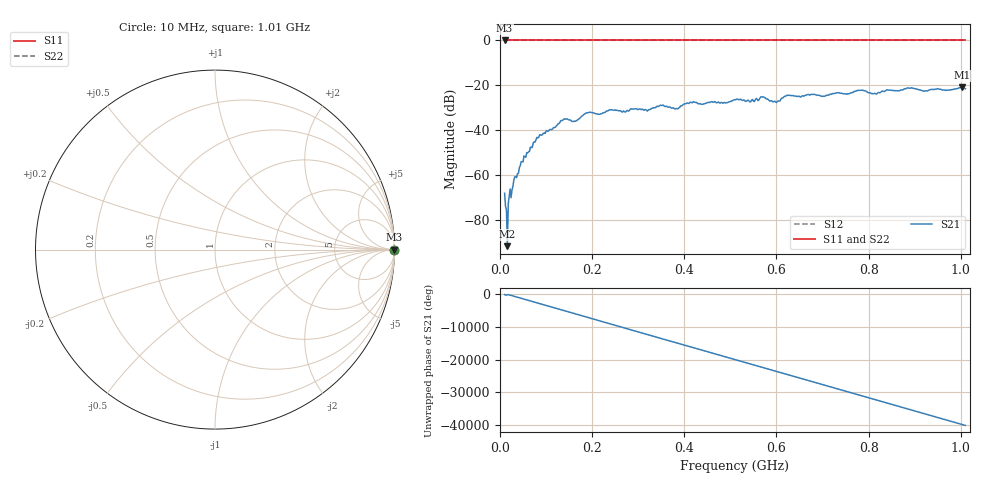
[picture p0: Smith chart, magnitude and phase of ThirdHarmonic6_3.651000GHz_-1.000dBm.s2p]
! 8/17/2025 12:17:36 PM
! C:\ANRITSUVNA\TEMP\TEMP.S2P
! CHANNEL.1
! TR.MEASUREMENT
! RAW.DATA
! RF.CORRECTION.OFF
! AVERAGING.OFF
! IF.BANDWIDTH: 5KHZ
! SWEEPTYPE:  FREQ.SWEEP(Linear)
! Reference Plane Port Info
! PORT:  PORT1  PORT2
! DISTANCE:  0  m  0  m
! TIME:  0  s  0  s
! PHASE.OFFSET:  0  deg.  0  deg.
! LOSS:  0  dB  0  dB
! REF.LOSS:  0  dB  0  dB
! REF.FREQ:  0  Hz  0  Hz
! Power Info
! POWER:  -20  dBm  -20  dBm
! EFF.POWER:  -20  dBm  -20  dBm
! SOURCE.ATTEN:  0  dB  0  dB
! TEST.ATTEN:  0  dB  0  dB
# GHZ S RI R 50.0
! FREQ.GHZ  S11RE  S11IM  S21RE  S21IM  S12RE  S12IM  S22RE  S22IM
!; PortSelection: Port_12
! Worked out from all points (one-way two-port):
!   501 points, 10 MHz to 1.01 GHz, reference 50 ohm
!   highest |S21| = -20.88 dB at 1.002 GHz (marker M1); lowest = -91.9 dB at 16 MHz (marker M2)
!   lowest |S11| = 0.0 dB at 10 MHz (marker M3)
!   |S11| at or under -10 dB: nowhere
!   |S22| runs from 0.0 to 0.0 dB; largest |S21 - S12| = 1.1
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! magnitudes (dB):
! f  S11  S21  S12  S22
! 10 MHz  0.0  -68.2  0.0  0.0
! 16 MHz  0.0  -91.9  0.0  0.0
! 30 MHz  0.0  -62.4  0.0  0.0
! 48 MHz  0.0  -54.1  0.0  0.0
! 82 MHz  0.0  -43.4  0.0  0.0
! 136 MHz  0.0  -35.7  0.0  0.0
! 162 MHz  0.0  -36.1  0.0  0.0
! 178 MHz  0.0  -33.7  0.0  0.0
! 344 MHz  0.0  -29.5  0.0  0.0
! 382 MHz  0.0  -30.5  0.0  0.0
! 416 MHz  0.0  -27.8  0.0  0.0
! 510 MHz  0.0  -26.5  0.0  0.0
! 548 MHz  0.0  -26.4  0.0  0.0
! 570 MHz  0.0  -25.2  0.0  0.0
! 598 MHz  0.0  -27.5  0.0  0.0
! 624 MHz  0.0  -24.4  0.0  0.0
! 678 MHz  0.0  -24.1  0.0  0.0
! 784 MHz  0.0  -22.3  0.0  0.0
! 814 MHz  0.0  -23.7  0.0  0.0
! 844 MHz  0.0  -22.2  0.0  0.0
! 1.002 GHz  0.0  -20.9  0.0  0.0
! 1.01 GHz  0.0  -21.5  0.0  0.0
